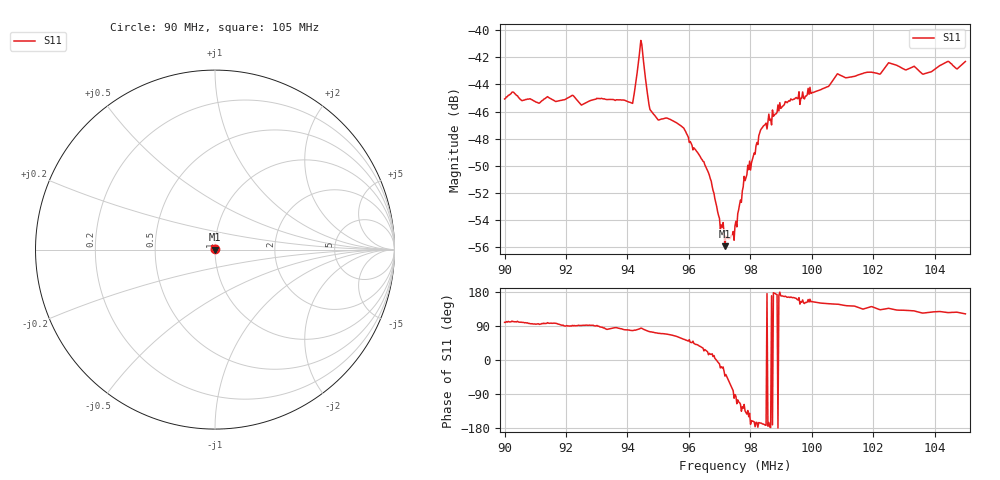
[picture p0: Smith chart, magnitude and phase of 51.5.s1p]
# HZ S RI R 50
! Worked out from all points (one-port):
!   505 points, 90 MHz to 105 MHz, reference 50 ohm
!   lowest |S11| = -56.0 dB at 97.17 MHz (marker M1), VSWR 1.00, Z = 50.1 - j0.108 ohm
!   |S11| at or under -10 dB: start of sweep to end of sweep
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9e7  -0.000903 0.0055
9.026786e7  -0.00117 0.0058
9.107143e7  -0.000504 0.00539
9.187501e7  -0.000164 0.00552
9.375001e7  0.000661 0.00549
9.416668e7  0.00114 0.00525
9.443454e7  0.00096 0.00913
9.449406e7  0.00113 0.00816
9.467263e7  0.00136 0.00542
9.476192e7  0.00138 0.00485
9.500002e7  0.00157 0.00439
9.562502e7  0.00216 0.00398
9.654764e7  0.00283 0.00136
9.717264e7  0.00118 -0.00108
9.723217e7  0.00124 -0.00118
9.750002e7  -4.7e-05 -0.0019
9.785717e7  -0.00215 -0.00188
9.833336e7  -0.00416 -0.000999
9.937503e7  -0.00533 0.0015
1.00506e8  -0.00528 0.00322
1.008334e8  -0.00583 0.0037
1.0125e8  -0.00535 0.00407
1.022024e8  -0.00471 0.00503
1.025298e8  -0.00544 0.00527
1.03125e8  -0.0047 0.00544
1.036608e8  -0.00388 0.00572
1.044048e8  -0.00444 0.00623
1.05e8  -0.00404 0.00653
